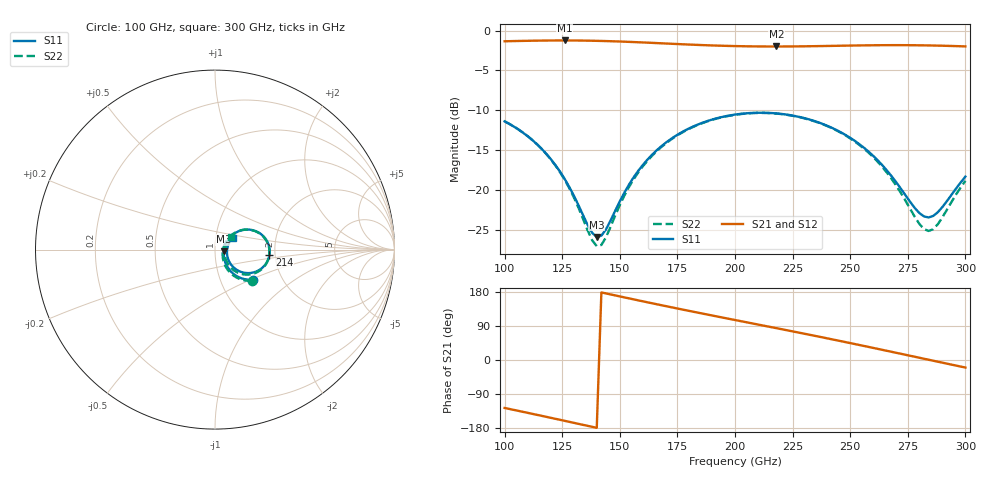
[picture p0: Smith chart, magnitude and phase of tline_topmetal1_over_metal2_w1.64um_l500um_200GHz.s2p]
#  GHZ S DB R 50
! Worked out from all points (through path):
!   101 points, 100 GHz to 300 GHz, reference 50 ohm
!   highest |S21| = -1.24 dB at 126 GHz (marker M1); lowest = -2.0 dB at 218 GHz (marker M2)
!   group delay of S21, straight-line fit = 3.48 ps
!   lowest |S11| = -25.9 dB at 140 GHz (marker M3), VSWR 1.11, Z = 55.2 - j1.05 ohm
!   |S11| at or under -10 dB: start of sweep to end of sweep
!   |S22| runs from -27.1 to -10.3 dB; largest |S21 - S12| = 1.5e-12
!   S11 on the Smith chart (normalised r, x): 100 GHz: 1.42, -0.51; 214 GHz: 1.86, -0.13; 300 GHz: 1.21, +0.16
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100  -11.40 -38.5  -1.34 -126.6  -1.34 -126.6  -11.39 -40.1
114  -14.26 -50.3  -1.27 -144.6  -1.27 -144.6  -14.26 -52.7
126  -18.60 -54.3  -1.24 -160.4  -1.24 -160.4  -18.70 -58.0
134  -23.15 -42.9  -1.26 -171.1  -1.26 -171.1  -23.60 -48.2
138  -25.40 -24.2  -1.28 -176.4  -1.28 -176.4  -26.33 -28.9
140  -25.92 -10.8  -1.29 -179.0  -1.29 -179.0  -27.07 -13.6
142  -25.75 3.3  -1.30 178.3  -1.30 178.3  -26.92 2.8
144  -24.97 15.5  -1.32 175.7  -1.32 175.7  -25.97 16.8
150  -21.44 35.1  -1.38 167.8  -1.38 167.8  -21.90 37.4
156  -18.43 39.8  -1.44 160.0  -1.44 160.0  -18.67 41.4
168  -14.53 35.4  -1.60 144.7  -1.60 144.7  -14.63 36.0
184  -11.78 22.3  -1.80 124.8  -1.80 124.8  -11.83 22.1
200  -10.55 7.3  -1.95 105.5  -1.95 105.5  -10.58 6.5
214  -10.33 -6.0  -2.00 88.8  -2.00 88.8  -10.36 -7.3
218  -10.40 -9.8  -2.00 84.0  -2.00 84.0  -10.43 -11.2
234  -11.31 -24.6  -1.96 64.6  -1.96 64.6  -11.34 -26.8
252  -13.85 -39.1  -1.88 42.1  -1.88 42.1  -13.93 -42.5
268  -18.30 -42.9  -1.83 21.6  -1.83 21.6  -18.63 -48.6
278  -22.26 -27.3  -1.84 8.6  -1.84 8.6  -23.37 -34.0
284  -23.46 -3.8  -1.87 0.7  -1.87 0.7  -25.16 -5.9
288  -22.82 12.6  -1.89 -4.4  -1.89 -4.4  -24.32 14.7
300  -18.33 33.5  -1.99 -19.9  -1.99 -19.9  -18.86 37.1
